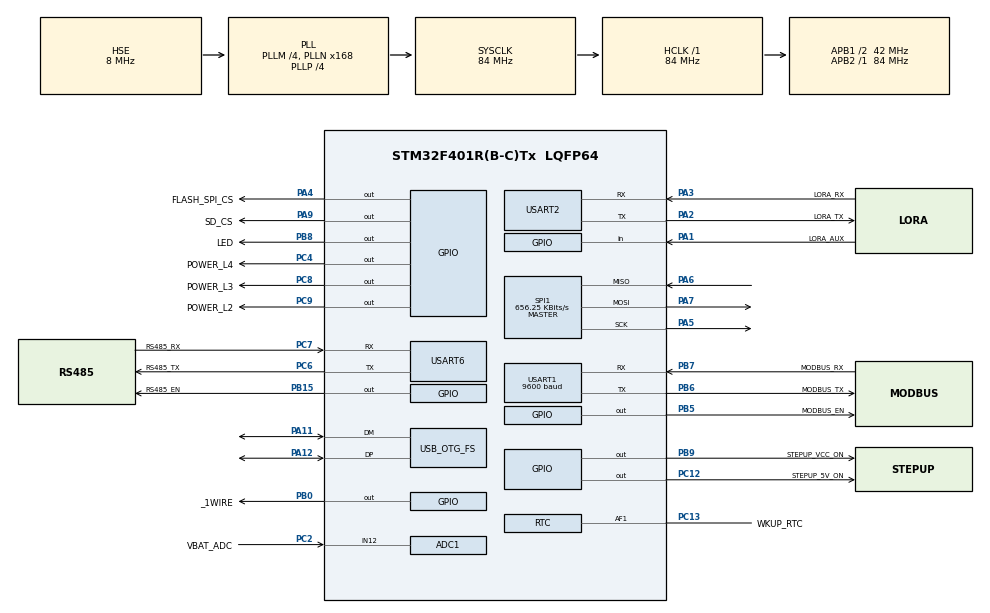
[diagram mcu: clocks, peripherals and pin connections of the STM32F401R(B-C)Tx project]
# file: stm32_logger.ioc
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ADC1.Channel-0\#ChannelRegularConversion=ADC_CHANNEL_12
ADC1.Channel-2\#ChannelInjectedConversion=ADC_CHANNEL_12
ADC1.Channel-3\#ChannelRegularConversion=ADC_CHANNEL_VREFINT
ADC1.Channel-4\#ChannelInjectedConversion=ADC_CHANNEL_VREFINT
ADC1.ContinuousConvMode=ENABLE
ADC1.DMAContinuousRequests=ENABLE
ADC1.EOCSelection=ADC_EOC_SINGLE_CONV
ADC1.EnableAnalogWatchDog=false
ADC1.InjNumberOfConversion=2
ADC1.InjectedOffset-2\#ChannelInjectedConversion=0
ADC1.InjectedOffset-4\#ChannelInjectedConversion=0
ADC1.InjectedRank-2\#ChannelInjectedConversion=1
ADC1.InjectedRank-4\#ChannelInjectedConversion=2
ADC1.NbrOfConversion=2
ADC1.NbrOfConversionFlag=1
ADC1.Rank-0\#ChannelRegularConversion=1
ADC1.Rank-3\#ChannelRegularConversion=2
ADC1.SamplingTime-0\#ChannelRegularConversion=ADC_SAMPLETIME_112CYCLES
ADC1.SamplingTime-2\#ChannelInjectedConversion=ADC_SAMPLETIME_112CYCLES
ADC1.SamplingTime-3\#ChannelRegularConversion=ADC_SAMPLETIME_144CYCLES
ADC1.SamplingTime-4\#ChannelInjectedConversion=ADC_SAMPLETIME_144CYCLES
ADC1.ScanConvMode=ENABLE
ADC1.master=1
Dma.ADC1.0.Direction=DMA_PERIPH_TO_MEMORY
Dma.ADC1.0.FIFOMode=DMA_FIFOMODE_DISABLE
Dma.ADC1.0.Instance=DMA2_Stream0
Dma.ADC1.0.MemDataAlignment=DMA_MDATAALIGN_HALFWORD
Dma.ADC1.0.MemInc=DMA_MINC_ENABLE
Dma.ADC1.0.Mode=DMA_CIRCULAR
Dma.ADC1.0.PeriphDataAlignment=DMA_PDATAALIGN_HALFWORD
Dma.ADC1.0.PeriphInc=DMA_PINC_DISABLE
Dma.ADC1.0.Priority=DMA_PRIORITY_LOW
Dma.Request0=ADC1
FATFS._MAX_SS=4096
FATFS._USE_FIND=1
FATFS._USE_LFN=1
Mcu.Family=STM32F4
Mcu.Name=STM32F401R(B-C)Tx
Mcu.Package=LQFP64
NVIC.DMA2_Stream0_IRQn=true\:0\:0\:false\:false\:true\:false\:true\:true
NVIC.OTG_FS_IRQn=true\:0\:0\:false\:false\:true\:false\:true\:true
NVIC.PriorityGroup=NVIC_PRIORITYGROUP_4
NVIC.RTC_Alarm_IRQn=true\:0\:0\:true\:false\:true\:true\:true\:true
NVIC.TIM1_BRK_TIM9_IRQn=true\:0\:0\:true\:false\:true\:true\:true\:true
NVIC.TIM5_IRQn=true\:0\:0\:true\:false\:true\:true\:true\:true
NVIC.USART1_IRQn=true\:0\:0\:true\:false\:true\:true\:true\:true
NVIC.USART6_IRQn=true\:0\:0\:true\:false\:true\:true\:true\:true
PA0-WKUP.GPIO_Label=WKUP
PA0-WKUP.Mode=SYS_WakeUp0
PA0-WKUP.Signal=SYS_WKUP
PA1.GPIO_Label=LORA_AUX
PA1.Signal=GPIO_Input
PA11.Mode=Device_Only
PA11.Signal=USB_OTG_FS_DM
PA12.Mode=Device_Only
PA12.Signal=USB_OTG_FS_DP
PA13.Mode=Trace_Asynchronous_SW
PA13.Signal=SYS_JTMS-SWDIO
PA14.Mode=Trace_Asynchronous_SW
PA14.Signal=SYS_JTCK-SWCLK
PA2.GPIO_Label=LORA_TX
PA2.Mode=Asynchronous
PA2.Signal=USART2_TX
PA3.GPIO_Label=LORA_RX
PA3.Mode=Asynchronous
PA3.Signal=USART2_RX
PA4.GPIO_Label=FLASH_SPI_CS
PA4.PinState=GPIO_PIN_SET
PA4.Signal=GPIO_Output
PA5.Mode=Full_Duplex_Master
PA5.Signal=SPI1_SCK
PA6.Mode=Full_Duplex_Master
PA6.Signal=SPI1_MISO
PA7.Mode=Full_Duplex_Master
PA7.Signal=SPI1_MOSI
PA9.GPIO_Label=SD_CS
PA9.PinState=GPIO_PIN_SET
PA9.Signal=GPIO_Output
PB0.GPIO_Label=_1WIRE
PB0.GPIO_ModeDefaultOutputPP=GPIO_MODE_OUTPUT_OD
PB0.GPIO_PuPd=GPIO_NOPULL
PB0.PinState=GPIO_PIN_SET
PB0.Signal=GPIO_Output
PB15.GPIO_Label=RS485_EN
PB15.Signal=GPIO_Output
PB3.Mode=Trace_Asynchronous_SW
PB3.Signal=SYS_JTDO-SWO
PB5.GPIO_Label=MODBUS_EN
PB5.Signal=GPIO_Output
PB6.GPIO_Label=MODBUS_TX
PB6.Mode=Asynchronous
PB6.Signal=USART1_TX
PB7.GPIO_Label=MODBUS_RX
PB7.Mode=Asynchronous
PB7.Signal=USART1_RX
PB8.GPIO_Label=LED
PB8.Signal=GPIO_Output
PB9.GPIO_Label=STEPUP_VCC_ON
PB9.Signal=GPIO_Output
PC12.GPIO_Label=STEPUP_5V_ON
PC12.Signal=GPIO_Output
PC13-ANTI_TAMP.GPIO_Label=WKUP_RTC
PC13-ANTI_TAMP.Mode=AlarmA_RoutedAF
PC13-ANTI_TAMP.Signal=RTC_AF1
PC14-OSC32_IN.Mode=LSE-External-Oscillator
PC14-OSC32_IN.Signal=RCC_OSC32_IN
PC15-OSC32_OUT.Mode=LSE-External-Oscillator
PC15-OSC32_OUT.Signal=RCC_OSC32_OUT
PC2.GPIO_Label=VBAT_ADC
PC2.Signal=ADCx_IN12
PC4.GPIO_Label=POWER_L4
PC4.Signal=GPIO_Output
PC6.GPIO_Label=RS485_TX
PC6.Mode=Asynchronous
PC6.Signal=USART6_TX
PC7.GPIO_Label=RS485_RX
PC7.Mode=Asynchronous
PC7.Signal=USART6_RX
PC8.GPIO_Label=POWER_L3
PC8.Signal=GPIO_Output
PC9.GPIO_Label=POWER_L2
PC9.Signal=GPIO_Output
PH0\ -\ OSC_IN.Mode=HSE-External-Oscillator
PH0\ -\ OSC_IN.Signal=RCC_OSC_IN
PH1\ -\ OSC_OUT.Mode=HSE-External-Oscillator
PH1\ -\ OSC_OUT.Signal=RCC_OSC_OUT
ProjectManager.HeapSize=0x200
ProjectManager.StackSize=0x400
ProjectManager.TargetToolchain=STM32CubeIDE
RCC.48MHZClocksFreq_Value=48000000
RCC.AHBFreq_Value=84000000
RCC.APB1CLKDivider=RCC_HCLK_DIV2
RCC.APB1Freq_Value=42000000
RCC.APB1TimFreq_Value=84000000
RCC.APB2Freq_Value=84000000
RCC.APB2TimFreq_Value=84000000
RCC.CortexFreq_Value=84000000
RCC.HCLKFreq_Value=84000000
RCC.HSE_VALUE=8000000
RCC.HSI_VALUE=16000000
RCC.PLLM=4
RCC.PLLN=168
RCC.PLLP=RCC_PLLP_DIV4
RCC.PLLQ=7
RCC.RCC_RTC_Clock_SourceVirtual=RCC_RTCCLKSOURCE_LSE
RCC.SYSCLKFreq_VALUE=84000000
RCC.SYSCLKSource=RCC_SYSCLKSOURCE_PLLCLK
RCC.VCOOutputFreq_Value=336000000
RTC.Alarm=RTC_ALARM_A
RTC.Format=RTC_FORMAT_BIN
SH.ADCx_IN12.0=ADC1_IN12,IN12
SPI1.BaudRatePrescaler=SPI_BAUDRATEPRESCALER_128
SPI1.CalculateBaudRate=656.25 KBits/s
SPI1.Direction=SPI_DIRECTION_2LINES
SPI1.Mode=SPI_MODE_MASTER
SPI1.VirtualType=VM_MASTER
TIM5.Period=100
TIM5.Prescaler=83
TIM9.Period=999
TIM9.Prescaler=83
USART1.BaudRate=9600
USART1.VirtualMode=VM_ASYNC
USART2.VirtualMode=VM_ASYNC
USART6.VirtualMode=VM_ASYNC
USB_DEVICE.APP_RX_DATA_SIZE=64
USB_DEVICE.APP_TX_DATA_SIZE=64
USB_DEVICE.CLASS_NAME_FS=CDC
USB_DEVICE.PRODUCT_STRING_CDC_FS=Logger Virtual COM Port
USB_DEVICE.USBD_DEBUG_LEVEL=3
USB_DEVICE.VirtualMode=Cdc
USB_DEVICE.VirtualModeFS=Cdc_FS
USB_OTG_FS.VirtualMode=Device_Only
VP_ADC1_Vref_Input.Mode=IN-Vrefint
VP_FATFS_VS_Generic.Mode=User_defined
VP_RTC_VS_RTC_Activate.Mode=RTC_Enabled
VP_RTC_VS_RTC_Calendar.Mode=RTC_Calendar
VP_TIM5_VS_ClockSourceINT.Mode=Internal
VP_TIM9_VS_ClockSourceINT.Mode=Internal
VP_USB_DEVICE_VS_USB_DEVICE_CDC_FS.Mode=CDC_FS
board=custom

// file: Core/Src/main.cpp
/* USER CODE BEGIN Header */
/**
  ******************************************************************************
  * @file           : main.c
  * @brief          : Main program body
  ******************************************************************************
  * @attention
  *
  * Copyright (c) 2024 STMicroelectronics.
  * All rights reserved.
  *
  * This software is licensed under terms that can be found in the LICENSE file
  * in the root directory of this software component.
  * If no LICENSE file comes with this software, it is provided AS-IS.
  *
  ******************************************************************************
  */
/* USER CODE END Header */
#include "main.h"
#include "adc.h"
#include "dma.h"
#include "fatfs.h"
#include "rtc.h"
#include "spi.h"
#include "tim.h"
#include "usart.h"
#include "usb_device.h"
#include "gpio.h"

/* USER CODE BEGIN Includes */
#include "bedug.h"

#include "app.h"
#include "usb.h"
#include "glog.h"
#include "w25qxx.h"
#include "system.h"
#include "hal_defs.h"
#include "settings.h"
#include "measure_log.h"
#include "onewire_driver.h"

#include "Timer.h"
#include "Record.h"
#include "gprotocol.h"
#include "Watchdogs.h"
#include "SoulGuard.h"
#include "StorageAT.h"
#include "StorageDriver.h"
#include "CodeStopwatch.h"
/* USER CODE END Includes */

/* USER CODE BEGIN PV */

static constexpr char MAIN_TAG[] = "MAIN";

/* USER CODE END PV */

void SystemClock_Config(void);
/* USER CODE BEGIN PFP */
void error_loop();
/* USER CODE END PFP */

/* USER CODE BEGIN 0 */
StorageDriver storageDriver;
StorageAT* storage;

SoulGuard<
	RestartWatchdog,
	PowerWatchdog,
	StackWatchdog
> hardGuard;
SoulGuard<
	MemoryWatchdog,
	SettingsWatchdog,
	OneWireWatcher,
	RTCWatchdog,
	SDCardWatcher,
	StandbyWatchdog
> softGuard;
/* USER CODE END 0 */

int main(void)
{
  /* USER CODE BEGIN 1 */
	system_pre_load();
  /* USER CODE END 1 */

  /* MCU Configuration--------------------------------------------------------*/

  /* Reset of all peripherals, Initializes the Flash interface and the Systick. */
  HAL_Init();

  /* USER CODE BEGIN Init */
  if (is_error(RCC_ERROR)) {
	  system_clock_hsi_config();
  } else {
  /* USER CODE END Init */

  /* Configure the system clock */
  SystemClock_Config();

  /* USER CODE BEGIN SysInit */
  }

#ifdef DEBUG
  /* USER CODE END SysInit */

  /* Initialize all configured peripherals */
  MX_GPIO_Init();
  MX_DMA_Init();
  MX_ADC1_Init();
  MX_SPI1_Init();
  MX_USART1_UART_Init();
  MX_USART2_UART_Init();
  MX_USART6_UART_Init();
  MX_USB_DEVICE_Init();
  MX_RTC_Init();
  MX_TIM5_Init();
  MX_TIM9_Init();
  MX_FATFS_Init();
  /* USER CODE BEGIN 2 */
#else

  MX_GPIO_Init();
  MX_DMA_Init();
  MX_ADC1_Init();
  MX_SPI1_Init();
  MX_USART1_UART_Init();
  MX_USART2_UART_Init();
  MX_USART6_UART_Init();
  MX_USB_DEVICE_Init();
  MX_RTC_Init();
  MX_TIM5_Init();
  MX_FATFS_Init();

#endif

	set_status(LOADING);

	HAL_Delay(100);

	HAL_TIM_Base_Start_IT(&LED_TIM);
	HAL_TIM_Base_Start_IT(&_1WIRE_TIM);

	// DIO_SPI
	DIO_SPI_Delay_cb = &HAL_Delay;

	gprint("\n\n\n");
	printTagLog(MAIN_TAG, "The device is loading");
  /* USER CODE END 2 */

  /* Infinite loop */
  /* USER CODE BEGIN WHILE */
    utl::Timer errTimer(40 * SECOND_MS);

    set_error(STACK_ERROR);
	while (has_errors()) {
		hardGuard.defend();

    	if (!errTimer.wait()) {
			system_error_handler((SOUL_STATUS)get_first_error(), error_loop);
		}
    }

    set_error(MEMORY_INIT_ERROR);
    errTimer.start();
    while(flash_w25qxx_init() != FLASH_OK) {
    	if (!errTimer.wait()) {
			system_error_handler(MEMORY_INIT_ERROR, error_loop);
		}
    }
    reset_error(MEMORY_INIT_ERROR);

    storage = new StorageAT(
		flash_w25qxx_get_pages_count(),
		&storageDriver,
		FLASH_W25_SECTOR_SIZE
	);

    set_error(SD_CARD_ERROR);
    errTimer.start();
	while (has_errors() || is_status(LOADING)) {
		hardGuard.defend();
		softGuard.defend();

    	if (!errTimer.wait()) {
			system_error_handler((SOUL_STATUS)get_first_error(), error_loop);
		}
    }

    system_rtc_test();

    measure_log_init();

    system_post_load();

    usb_init();

    printTagLog(MAIN_TAG, "The device has been loaded");

#ifdef DEBUG
	unsigned last_error = get_first_error();

	unsigned kFLOPScounter = 0;
	utl::Timer kFLOPSTimer(10 * SECOND_MS);
	kFLOPSTimer.start();
#endif
	set_status(WORKING);
	errTimer.start();
    while (1)
	{
		utl::CodeStopwatch stopwatch(MAIN_TAG, 3 * GENERAL_TIMEOUT_MS);

		hardGuard.defend();
		softGuard.defend();

#ifdef DEBUG
		unsigned error = get_first_error();
		if (error && last_error != error) {
			printTagLog(MAIN_TAG, "New error: %u", error);
			last_error = error;
		} else if (last_error != error) {
			printTagLog(MAIN_TAG, "No errors");
			last_error = error;
		}

		kFLOPScounter++;
		if (!kFLOPSTimer.wait()) {
			printTagLog(MAIN_TAG, "kFLOPS: %u", kFLOPScounter / 10000);
			kFLOPScounter = 0;
			kFLOPSTimer.start();
		}
#endif

		app_proccess();

		if (!errTimer.wait()) {
			system_error_handler((SOUL_STATUS)get_first_error(), error_loop);
		}

		if (has_errors() || is_status(LOADING)) {
			continue;
		}
    /* USER CODE END WHILE */

    /* USER CODE BEGIN 3 */
		usb_proccess();

		onewire_driver_tick();

		measure_log_proccess();

		errTimer.start();
	}
  /* USER CODE END 3 */
}

void SystemClock_Config(void)
{
  RCC_OscInitTypeDef RCC_OscInitStruct = {};
  RCC_ClkInitTypeDef RCC_ClkInitStruct = {};

  /** Configure the main internal regulator output voltage
  */
  __HAL_RCC_PWR_CLK_ENABLE();
  __HAL_PWR_VOLTAGESCALING_CONFIG(PWR_REGULATOR_VOLTAGE_SCALE2);

  /** Initializes the RCC Oscillators according to the specified parameters
  * in the RCC_OscInitTypeDef structure.
  */
  RCC_OscInitStruct.OscillatorType = RCC_OSCILLATORTYPE_HSE|RCC_OSCILLATORTYPE_LSE;
  RCC_OscInitStruct.HSEState = RCC_HSE_ON;
  RCC_OscInitStruct.LSEState = RCC_LSE_ON;
  RCC_OscInitStruct.PLL.PLLState = RCC_PLL_ON;
  RCC_OscInitStruct.PLL.PLLSource = RCC_PLLSOURCE_HSE;
  RCC_OscInitStruct.PLL.PLLM = 4;
  RCC_OscInitStruct.PLL.PLLN = 168;
  RCC_OscInitStruct.PLL.PLLP = RCC_PLLP_DIV4;
  RCC_OscInitStruct.PLL.PLLQ = 7;
  if (HAL_RCC_OscConfig(&RCC_OscInitStruct) != HAL_OK)
  {
    Error_Handler();
  }

  /** Initializes the CPU, AHB and APB buses clocks
  */
  RCC_ClkInitStruct.ClockType = RCC_CLOCKTYPE_HCLK|RCC_CLOCKTYPE_SYSCLK
                              |RCC_CLOCKTYPE_PCLK1|RCC_CLOCKTYPE_PCLK2;
  RCC_ClkInitStruct.SYSCLKSource = RCC_SYSCLKSOURCE_PLLCLK;
  RCC_ClkInitStruct.AHBCLKDivider = RCC_SYSCLK_DIV1;
  RCC_ClkInitStruct.APB1CLKDivider = RCC_HCLK_DIV2;
  RCC_ClkInitStruct.APB2CLKDivider = RCC_HCLK_DIV1;

  if (HAL_RCC_ClockConfig(&RCC_ClkInitStruct, FLASH_LATENCY_2) != HAL_OK)
  {
    Error_Handler();
  }
}

/* USER CODE BEGIN 4 */

void error_loop()
{
	hardGuard.defend();
	softGuard.defend();
}

int _write(int, uint8_t *ptr, int len) {
	(void)ptr;
	(void)len;
#ifdef DEBUG
    HAL_UART_Transmit(&BEDUG_UART, (uint8_t *)ptr, static_cast<uint16_t>(len), GENERAL_TIMEOUT_MS);
    for (int DataIdx = 0; DataIdx < len; DataIdx++) {
        ITM_SendChar(*ptr++);
    }
    return len;
#endif
    return 0;
}

void HAL_TIM_PeriodElapsedCallback(TIM_HandleTypeDef *htim)
{
	if(htim->Instance == LED_TIM.Instance) {
#ifdef DEBUG
		static utl::Timer timer(SECOND_MS / 10);
		static utl::Timer errTimer(SECOND_MS);
		static bool errEnabled = false;
		if (errEnabled) {
			HAL_GPIO_WritePin(LED_GPIO_Port, LED_Pin, GPIO_PIN_RESET);
		} else if (!timer.wait()) {
			HAL_GPIO_TogglePin(LED_GPIO_Port, LED_Pin);
			timer.start();
		}
		if (!errTimer.wait() && has_errors()) {
			timer.changeDelay(SECOND_MS / 50);
			errEnabled = !errEnabled;
			errTimer.start();
		} else if (has_errors()) {
		} else if (is_status(LOADING)) {
			timer.changeDelay(SECOND_MS / 50);
			errEnabled = false;
		} else if (!has_errors()) {
			timer.changeDelay(SECOND_MS / 10);
			errEnabled = false;
		}
#endif
	}
}

/* USER CODE END 4 */

void Error_Handler(void)
{
  /* USER CODE BEGIN Error_Handler_Debug */
    b_assert(__FILE__, __LINE__, "The error handler has been called");
	SOUL_STATUS err = has_errors() ? (SOUL_STATUS)get_first_error() : ERROR_HANDLER_CALLED;
	system_error_handler(err, error_loop);
  /* USER CODE END Error_Handler_Debug */
}

#ifdef  USE_FULL_ASSERT
/**
  * @brief  Reports the name of the source file and the source line number
  *         where the assert_param error has occurred.
  * @param  file: pointer to the source file name
  * @param  line: assert_param error line source number
  * @retval None
  */
void assert_failed(uint8_t *file, uint32_t line)
{
  /* USER CODE BEGIN 6 */
	b_assert((char*)file, line, "Wrong parameters value");
	SOUL_STATUS err = has_errors() ? (SOUL_STATUS)get_first_error() : ASSERT_ERROR;
	system_error_handler(err, error_loop);
  /* USER CODE END 6 */
}
#endif /* USE_FULL_ASSERT */
